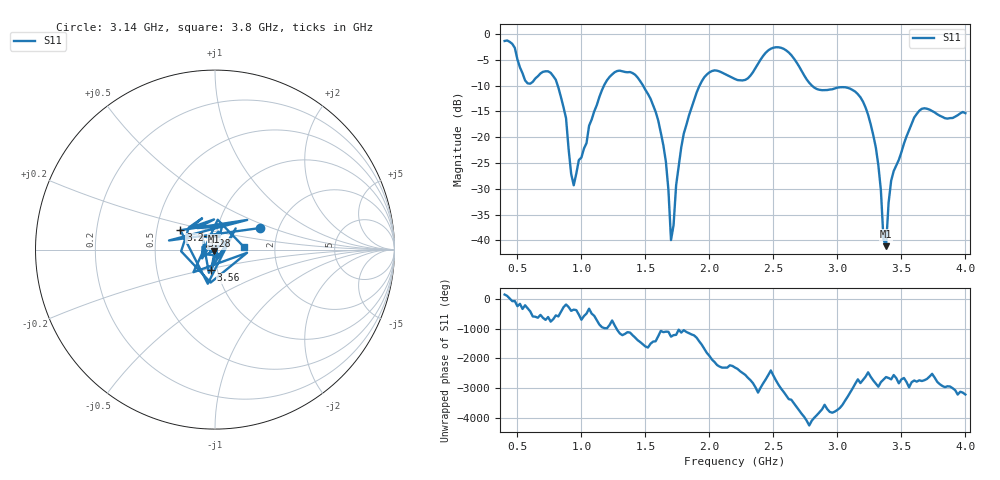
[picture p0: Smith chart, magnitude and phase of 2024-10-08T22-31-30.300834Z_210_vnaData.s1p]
! Created with skrf (http://scikit-rf.org).
# Hz S RI R 50.0
!freq ReS11 ImS11
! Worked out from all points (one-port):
!   181 points, 400 MHz to 4 GHz, reference 50 ohm
!   lowest |S11| = -41.1 dB at 3.38 GHz (marker M1), VSWR 1.02, Z = 49.6 - j0.801 ohm
!   |S11| at or under -10 dB: 815 MHz to 1.176 GHz (361.4 MHz wide, 36.3 % of centre); 1.482 GHz to 1.923 GHz (441.3 MHz wide, 25.9 % of centre); 2.801 GHz to end of sweep
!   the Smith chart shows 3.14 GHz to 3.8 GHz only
!   S11 on the Smith chart (normalised r, x): 3.14 GHz: 1.60, +0.41; 3.2 GHz: 0.66, +0.15; 3.28 GHz: 0.86, +0.13; 3.56 GHz: 0.93, -0.22; 3.8 GHz: 1.38, +0.04
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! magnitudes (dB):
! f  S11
! 400 MHz  -1.4
! 580 MHz  -9.6
! 760 MHz  -7.5
! 860 MHz  -14.2
! 940 MHz  -29.3
! 1.16 GHz  -10.9
! 1.3 GHz  -7.1
! 1.58 GHz  -15.1
! 1.66 GHz  -24.7
! 1.7 GHz  -39.9
! 1.76 GHz  -25.6
! 1.96 GHz  -8.4
! 2.2 GHz  -8.7
! 2.5 GHz  -2.7
! 2.66 GHz  -4.7
! 2.84 GHz  -10.7
! 3.1 GHz  -10.6
! 3.14 GHz  -11.2
! 3.2 GHz  -13.1
! 3.28 GHz  -19.6
! 3.34 GHz  -30.3
! 3.36 GHz  -39.8
! 3.38 GHz  -41.1
! 3.42 GHz  -28.4
! 3.56 GHz  -18.6
! 3.66 GHz  -14.5
! 3.8 GHz  -15.8
! 4 GHz  -15.3
